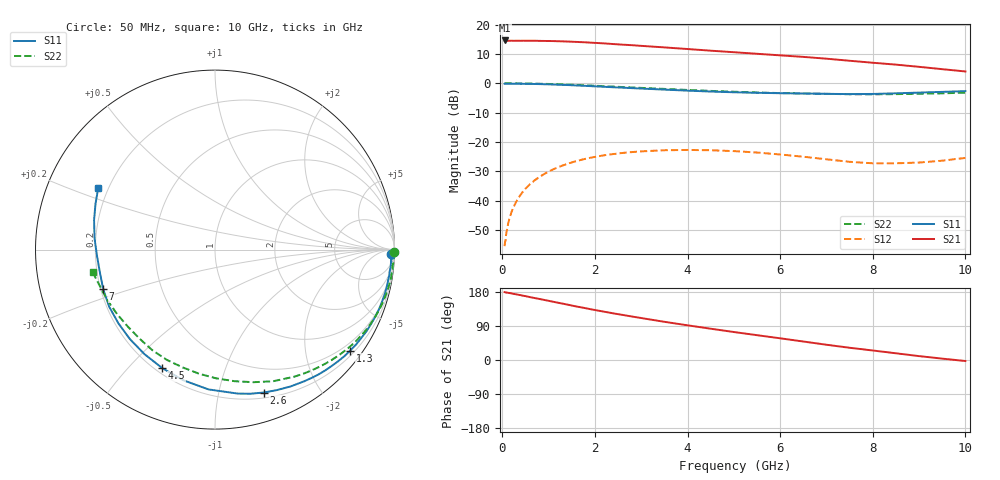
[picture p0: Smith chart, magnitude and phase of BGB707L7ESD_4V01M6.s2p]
!  Infineon Technologies AG
!  BGB707L7ESD
!  Vce = 4.0V, Ic = 1.6mA
!  DATUM: 30.06.2009 10:57:42
# GHz  S  MA  R  50
!f  S11  S21  S12  S22
!GHz  Mag  Ang  Mag  Ang  Mag  Ang  Mag  Ang
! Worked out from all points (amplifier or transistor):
!   52 points, 50 MHz to 10 GHz, reference 50 ohm
!   highest |S21| = 14.6 dB at 60 MHz (marker M1)
!   |S21| within 3 dB of that: start of sweep to 4.071 GHz
!   unconditionally stable (mu >= 1): 7.214 GHz to end of sweep
!   at 130 MHz: K = 0.03, MSG = 31.1 dB, |S12| = -47.6 dB
!   at 1.4 GHz: K = 0.04, MSG = 20.9 dB, |S12| = -27.5 dB
!   at 10 GHz: K = 1.14, MAG = 12.5 dB, |S12| = -25.4 dB
!   S11 on the Smith chart (normalised r, x): 50 MHz: 35, -53; 1.3 GHz: 0.31, -2.98; 2.6 GHz: 0.25, -1.37; 4.5 GHz: 0.23, -0.63; 7 GHz: 0.21, -0.17; 10 GHz: 0.16, +0.24
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0.05  0.983 -1.5  5.267 179.1  0.001672 90.4  0.9981 -0.9
0.06  0.9877 -2.0  5.37 178.8  0.001996 90.4  0.9984 -1.1
0.08  0.9809 -2.2  5.279 178.1  0.002575 83.4  0.9984 -1.6
0.09  0.9839 -2.6  5.32 178.5  0.002873 85.8  0.9979 -1.8
0.1  0.9828 -3.0  5.295 177.6  0.00312 84.2  0.9976 -2.0
0.2  0.9833 -5.8  5.318 175.8  0.006431 84.3  0.9968 -4.1
0.45  0.9783 -12.7  5.317 169.6  0.01437 80.5  0.993 -9.2
0.8  0.9682 -22.6  5.282 161.2  0.02525 73.7  0.9826 -16.5
1.3  0.9401 -36.8  5.186 148.8  0.03955 63.5  0.9572 -26.6
1.8  0.9032 -50.4  4.987 136.7  0.05163 53.6  0.9228 -36.5
2.2  0.8713 -61.0  4.786 127.5  0.05924 46.1  0.8926 -44.1
2.6  0.8416 -71.1  4.552 118.9  0.06495 39.3  0.8624 -51.2
3  0.8125 -80.9  4.343 110.7  0.06907 33.1  0.8345 -58.0
3.5  0.7799 -92.7  4.088 100.8  0.0722 25.9  0.8018 -66.2
4.5  0.7229 -113.9  3.596 82.6  0.07219 14.0  0.7416 -81.4
5.5  0.688 -133.6  3.182 65.5  0.06597 5.3  0.6971 -97.3
6.5  0.6701 -151.6  2.818 48.8  0.056 2.0  0.6704 -113.5
7  0.6608 -160.4  2.625 40.3  0.05056 3.0  0.6603 -121.9
7.5  0.6539 -168.8  2.421 32.3  0.04584 7.1  0.6502 -130.1
8.5  0.674 174.7  2.08 17.7  0.04323 20.9  0.6534 -146.6
9  0.6937 166.2  1.907 10.2  0.04455 27.8  0.6627 -155.0
10  0.7351 152.2  1.59 -2.7  0.05342 38.3  0.6934 -169.6
